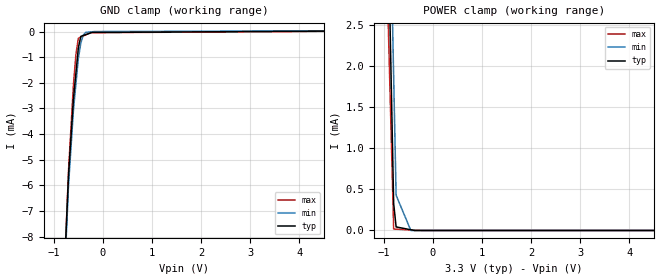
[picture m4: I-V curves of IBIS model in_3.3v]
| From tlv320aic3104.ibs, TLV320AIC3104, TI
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[Model] in_3.3v
Model_type Input
Vinl = 990.000mV
Vinh = 2.31000V
C_comp 616.000fF 611.000fF 626.000fF
| variable typ   min   max
[Voltage Range] 3.30000V 3.00000V 3.60000V
[POWER Clamp Reference] 3.30000V 3.00000V 3.60000V
[GND Clamp Reference] 0.00000V 0.00000V 0.00000V
[Temperature Range] 25   85   -40
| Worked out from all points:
|   GND clamp passes 1 mA (typ) near -0.52 V on its own axis
[GND Clamp]
-3.3V     -120.9mA   -117.7mA   -126.6mA
-700mV    -5.57mA    -5.966mA   -5.39mA
-600mV    -2.61mA    -3.041mA   -2.051mA
-550mV    -1.618mA   -2.041mA   -888.5uA
-500mV    -626.4uA   -1.041mA   -258.7uA
-450mV    -188.2uA   -444.8uA   -215.9uA
-400mV    -154.6uA   -137.2uA   -173.1uA
-350mV    -121.1uA   -32.52uA   -130.3uA
-250mV    -54.05uA   -15.11uA   -44.65uA
-225mV    -37.28uA   -10.75uA   -44.39uA
-175mV    -36.73uA   -2.046uA   -43.86uA
6.6V      38.18uA    36.19uA    27.93uA
[POWER Clamp]
-3.3V     73.93mA    73.83mA    64.78mA
-1.15V    10.63mA    11.94mA    8.097mA
-1.1V     9.161mA    10.5mA     6.779mA
-800mV    329.6uA    1.867mA    17.2uA
-750mV    43.04uA    427.5uA    15.64uA
-550mV    20.09uA    142.5uA    9.384uA
-450mV    8.609uA    0A         6.256uA
-400mV    2.869uA    0A         4.692uA
-375mV    0A         0A         3.91uA
-200mV    0A         0A         0A
6.6V      0A         0A         0A
